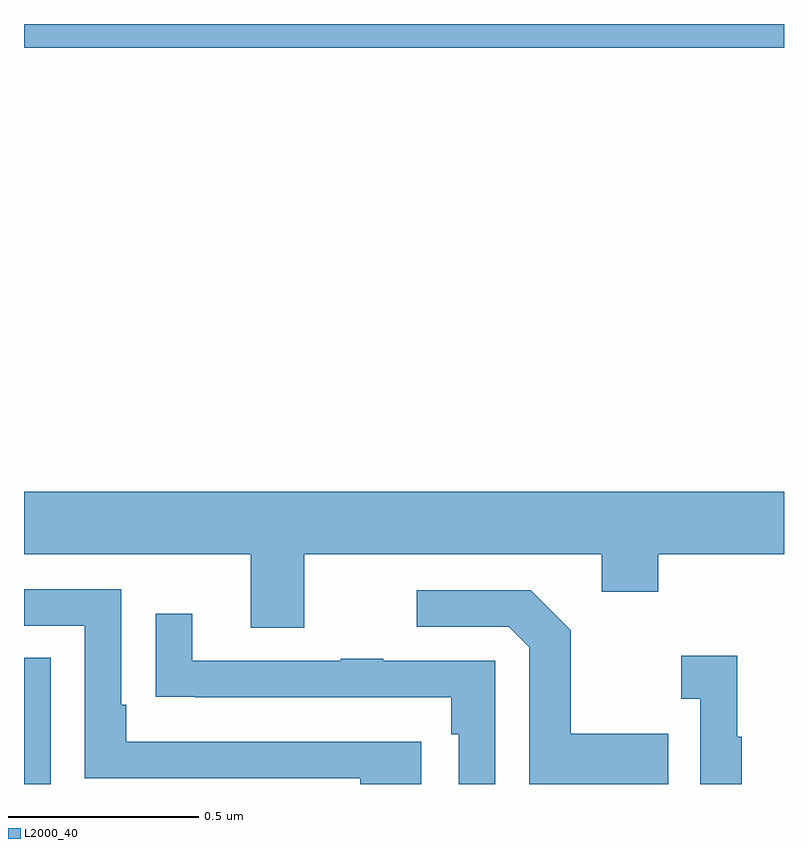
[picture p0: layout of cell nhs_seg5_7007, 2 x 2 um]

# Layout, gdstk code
import gdstk
lib = gdstk.Library(unit=1e-6, precision=1e-09)
def R(c, l, rs):  # rectangles x0, y0, x1, y1
    for r in rs: c.add(gdstk.rectangle(r[:2], r[2:], *l))
def P(c, l, *ps):  # polygons
    for p in ps: c.add(gdstk.Polygon(p, *l))
L2000_40 = (2000, 40)

nhs_seg5_7007 = lib.new_cell('nhs_seg5_7007')
R(nhs_seg5_7007, L2000_40, [(203,878.799,203.07,879.131), (203,880.736,205,880.799)])
P(nhs_seg5_7007, L2000_40, [(203.737,879.404),(204.521,879.404),(204.521,879.305),(204.669,879.305),(204.669,879.404),(205,879.404),(205,879.568),(203,879.568),(203,879.404),(203.597,879.404),(203.597,879.21),(203.737,879.21)],
  [(204.046,878.91),(203.269,878.91),(203.269,879.007),(203.256,879.007),(203.256,879.312),(203,879.312),(203,879.216),(203.16,879.216),(203.16,878.814),(203.885,878.814),(203.885,878.799),(204.046,878.799)],
  [(204.695,878.931),(204.439,878.931),(204.439,879.203),(204.333,879.309),(204.033,879.309),(204.033,879.213),(204.276,879.213),(204.33,879.159),(204.33,878.799),(204.695,878.799)],
  [(204.24,879.123),(203.945,879.123),(203.945,879.128),(203.833,879.128),(203.833,879.123),(203.443,879.123),(203.443,879.247),(203.347,879.247),(203.347,879.028),(203.449,879.028),(203.449,879.027),(204.124,879.027),(204.124,878.93),(204.144,878.93),(204.144,878.799),(204.24,878.799)],
  [(204.889,878.923),(204.877,878.923),(204.877,879.136),(204.729,879.136),(204.729,879.023),(204.78,879.023),(204.78,878.799),(204.889,878.799)])

lib.write_gds('nhs_seg5_7007.gds')
